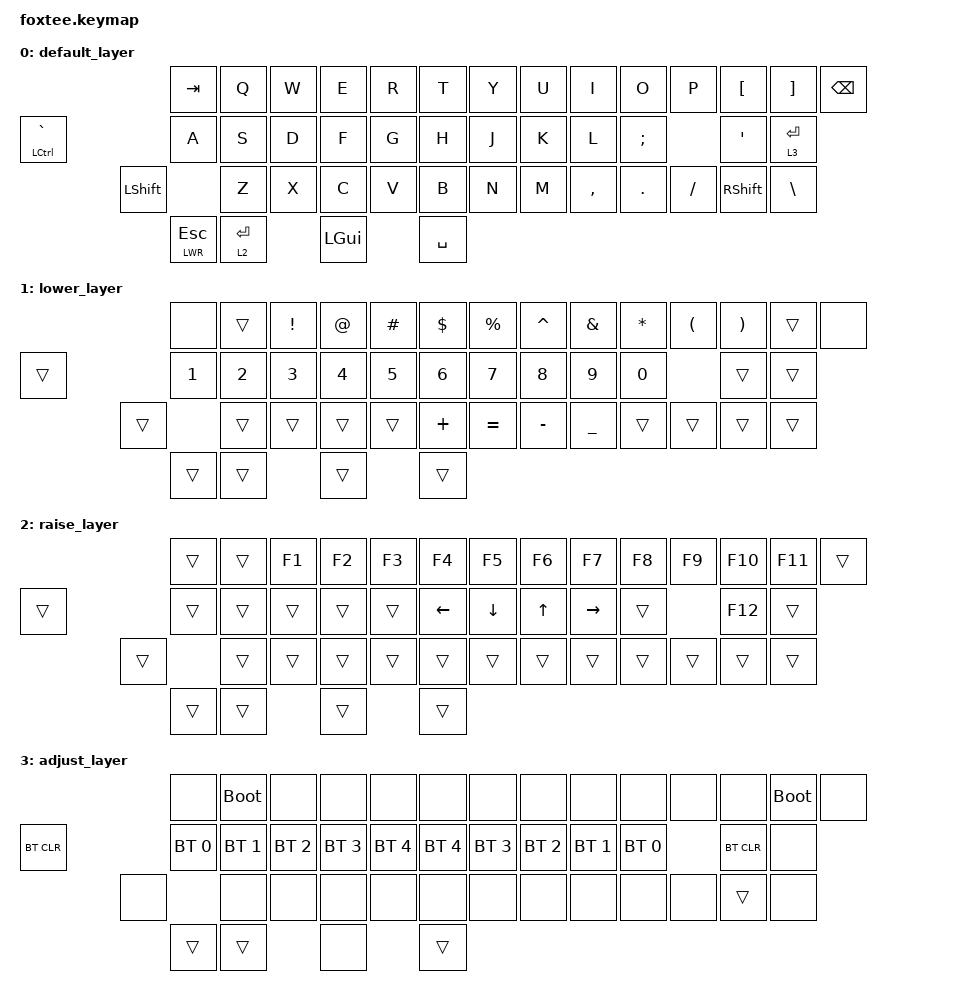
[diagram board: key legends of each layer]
/*
 * Copyright (c) 2022 The ZMK Contributors
 *
 * SPDX-License-Identifier: MIT
 */

#include <behaviors.dtsi>
#include <dt-bindings/zmk/bt.h>
#include <dt-bindings/zmk/keys.h>

#define DEF 0
#define LWR 1
#define RSE 2
#define ADJ 3

&lt { quick_tap_ms = <200>; };

&mt { quick_tap_ms = <200>; };

/ {
    combos {
        compatible = "zmk,combos";

        new_combo {
            bindings = <&kp RIGHT_BRACKET>;
            key-positions = <24 23>;
        };
    };

    keymap {
        compatible = "zmk,keymap";

        default_layer {
            // -----------------------------------------------------------------------------------------
            // |  GUI |   ~  |  Q  |  W  |  E  |  R  |  T  |   |  Y  |  U   |  I  |  O  |  P  |  [   | GUI/] |
            //        | CTRL |  A  |  S  |  D  |  F  |  G  |   |  H  |  J   |  K  |  L  |  ;  |CTRL/'|
            //        | LALT |  Z  |  X  |  C  |  V  |  B  |   |  N  |  M   |  ,  |  .  |  /  | RALT |
            //                           | RSE | SPC | LWR |   | LWR | BKSP | RSE |

            bindings = <
                                 &kp TAB         &kp Q        &kp W  &kp E     &kp R  &kp T      &kp Y  &kp U  &kp I      &kp O     &kp P      &kp LEFT_BRACKET    &kp RIGHT_BRACKET  &kp BACKSPACE
&mt LCTRL GRAVE                  &kp A           &kp S        &kp D  &kp F     &kp G  &kp H      &kp J  &kp K  &kp L      &kp SEMI             &kp SQT             &lt 3 ENTER
                 &kp LEFT_SHIFT                  &kp Z        &kp X  &kp C     &kp V  &kp B      &kp N  &kp M  &kp COMMA  &kp DOT   &kp SLASH  &kp RIGHT_SHIFT     &kp BACKSLASH
                                 &lt LWR ESCAPE  &lt 2 ENTER         &kp LGUI         &kp SPACE
            >;
        };

        lower_layer {
            // -----------------------------------------------------------------------------------------
            // |     |  _  |  F1 |  F2 |  F3 |  F4 |  F5 |   |  F6 |  F7 |  F8 |  F9 | F10 | F11 | F12 |
            //       |  +  |  !  |  @  |  #  |  $  |  %  |   |  ^  |  &  |  *  |  (  |  )  |  -  |
            //       |  =  |  1  |  2  |  3  |  4  |  5  |   |  6  |  7  |  8  |  9  |  0  |     |
            //                    | GUI |     | SPC |   | ENT |     | ALT |

            bindings = <
                &none         &trans        &kp EXCLAMATION  &kp AT_SIGN   &kp HASH      &kp DOLLAR    &kp PERCENT   &kp CARET     &kp AMPERSAND  &kp ASTERISK  &kp LEFT_PARENTHESIS  &kp RIGHT_PARENTHESIS    &trans  &none
&trans          &kp NUMBER_1  &kp NUMBER_2  &kp NUMBER_3     &kp NUMBER_4  &kp NUMBER_5  &kp NUMBER_6  &kp NUMBER_7  &kp NUMBER_8  &kp NUMBER_9   &kp NUMBER_0                        &trans                   &trans
        &trans                &trans        &trans           &trans        &trans        &kp PLUS      &kp EQUAL     &kp MINUS     &kp UNDER      &trans        &trans                &trans                   &trans
                &trans        &trans                         &trans                      &trans
            >;
        };

        raise_layer {
            // -----------------------------------------------------------------------------------------
            // |     | NMLK |  /  |  7  |  8  |  9  |  -  |   | VOLU| HOME| PRSC| PGUP| SCLK| CLCK|     |
            //       | CTRL |  *  |  4  |  5  |  6  |  +  |   | MUT | LEFT|  UP | RGHT| INS | APP |
            //       |      |  0  |  1  |  2  |  3  |  .  |   | VOLD| END | DOWN| PGDN| PAUS|     |
            //                          |     |     | ADJ |   | ADJ |     |     |

            bindings = <
                &trans  &trans  &kp F1  &kp F2  &kp F3  &kp F4    &kp F5    &kp F6  &kp F7     &kp F8  &kp F9  &kp F10    &kp F11  &trans
&trans          &trans  &trans  &trans  &trans  &trans  &kp LEFT  &kp DOWN  &kp UP  &kp RIGHT  &trans          &kp F12    &trans
        &trans          &trans  &trans  &trans  &trans  &trans    &trans    &trans  &trans     &trans  &trans  &trans     &trans
                &trans  &trans          &trans          &trans
            >;
        };

        adjust_layer {
            // -----------------------------------------------------------------------------------------
            // | RST | BLDR |     |     |     |     |     |   |     |     |     |     |     | BLDR | RST |
            //       | BTCLR| BT0 | BT1 | BT2 | BT3 | BT4 |   | BT4 | BT3 | BT2 | BT1 | BT0 | BTCLR|
            //       |      |     |     |     |     |     |   |     |     |     |     |     |      |
            //                          |     |     |     |   |     |     |     |

            bindings = <
                   &none         &bootloader   &none         &none         &none         &none         &none         &none         &none         &none         &none  &none         &bootloader  &none
&bt BT_CLR         &bt BT_SEL 0  &bt BT_SEL 1  &bt BT_SEL 2  &bt BT_SEL 3  &bt BT_SEL 4  &bt BT_SEL 4  &bt BT_SEL 3  &bt BT_SEL 2  &bt BT_SEL 1  &bt BT_SEL 0         &bt BT_CLR    &none
            &none                &none         &none         &none         &none         &none         &none         &none         &none         &none         &none  &trans        &none
                   &trans        &trans                      &none                       &trans
            >;
        };
    };
};
